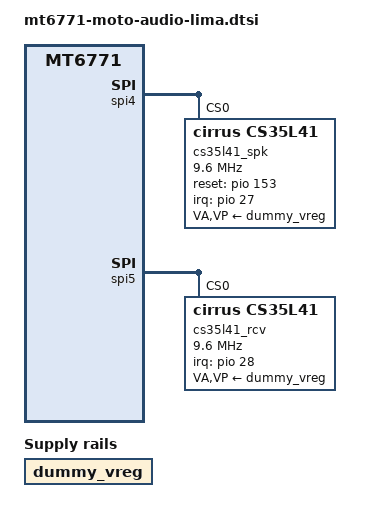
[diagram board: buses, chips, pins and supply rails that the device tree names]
/ {
	dummy_vreg: dummy_vreg {
		compatible = "regulator-fixed";
		status = "ok";
		regulator-name = "dummy_vreg";
		regulator-always-on;
	};
};

&pio {
	amp_reset:amp_reset_cfg {
		combo_pins {
			pins = <PINMUX_GPIO153__FUNC_GPIO153>;
			slew-rate = <1>;
			output-high;
		};
        };

	amp_spk_irq:amp_spk_irq_cfg {
		combo_pins {
			pins = <PINMUX_GPIO27__FUNC_GPIO27>;
			slew-rate = <0>;
			output-high;
		};
        };

	amp_rcv_irq:amp_rcv_irq_cfg {
		combo_pins {
			pins = <PINMUX_GPIO28__FUNC_GPIO28>;
			slew-rate = <0>;
			output-high;
		};
        };
};

&spi4 {
	cs35l41_spk: cs35l41@0 {
		#sound-dai-cells = <1>;
		compatible = "cirrus,cs35l41";
		spi-max-frequency = <9600000>;
		reg = <0>;
		reset-gpios = <&pio 153 0>;
		interrupt-parent = <&pio>;
		interrupts = <27 IRQ_TYPE_LEVEL_LOW 27 0>;

		status = "ok";
		VA-supply = <&dummy_vreg>;
		VP-supply = <&dummy_vreg>;
		cirrus,boost-peak-milliamp = <4500>;
		cirrus,boost-ind-nanohenry = <1000>;
		cirrus,boost-cap-microfarad = <15>;
		cirrus,dsp-force-reload = <1> ;

		cirrus,asp-sdout-hiz = <0x1>;

		pinctrl-names = "default";
		pinctrl-0 = <&amp_reset>;

		cirrus,gpio-config2 {
			cirrus,gpio-src-select = <0x4>;
			cirrus,gpio-output-enable;
		};

		adsps {
			#address-cells = <1>;
			#size-cells = <0>;
			prince_l_dsp: adsp@2b80000 {
				reg = <0x2b80000>;
				firmware {
				        protectionsp_music {
						cirrus,full-name;
						cirrus,wmfw-file = "cs35l41-dsp1-prot.wmfw";
						cirrus,bin-file = "cs35l41-dsp1-spk-prot-music.bin";
					};
					protectionsp_voice {
						cirrus,full-name;
						cirrus,wmfw-file = "cs35l41-dsp1-prot.wmfw";
						cirrus,bin-file = "cs35l41-dsp1-spk-prot-voice.bin";
					};
					protectionsp_ringtone {
						cirrus,full-name;
						cirrus,wmfw-file = "cs35l41-dsp1-prot.wmfw";
						cirrus,bin-file = "cs35l41-dsp1-spk-prot-ringtone.bin";
					};
					protectionsp_notification {
						cirrus,full-name;
						cirrus,wmfw-file = "cs35l41-dsp1-prot.wmfw";
						cirrus,bin-file = "cs35l41-dsp1-spk-prot-notification.bin";
					};
					calibration {
						cirrus,full-name;
						cirrus,wmfw-file = "cs35l41-dsp1-diag.wmfw";
						cirrus,bin-file = "cs35l41-dsp1-diag-spk-cali.bin";
					};
				};
			};
		};
	};
};

&spi5 {
	cs35l41_rcv: cs35l41@0 {
		#sound-dai-cells = <1>;
		compatible = "cirrus,cs35l41";
		spi-max-frequency = <9600000>;
		reg = <0>;
		interrupt-parent = <&pio>;
		interrupts = <28 IRQ_TYPE_LEVEL_LOW 28 0>;

		status = "ok";
		cirrus,right-channel-amp;
		VA-supply = <&dummy_vreg>;
		VP-supply = <&dummy_vreg>;
		cirrus,boost-peak-milliamp = <4500>;
		cirrus,boost-ind-nanohenry = <1000>;
		cirrus,boost-cap-microfarad = <15>;
		cirrus,dsp-force-reload = <1> ;
		cirrus,asp-sdout-hiz = <0x1>;

		pinctrl-names = "default";

		cirrus,gpio-config2 {
			cirrus,gpio-src-select = <0x4>;
			cirrus,gpio-output-enable;
		};

		adsps {
			#address-cells = <1>;
			#size-cells = <0>;
			prince_r_dsp: adsp@2b80000 {
				reg = <0x2b80000>;
				firmware {
				        protectionsp_music {
						cirrus,full-name;
						cirrus,wmfw-file = "cs35l41-dsp1-prot.wmfw";
						cirrus,bin-file = "cs35l41-dsp1-spk-prot-music.bin";
					};
					protectionsp_voice {
						cirrus,full-name;
						cirrus,wmfw-file = "cs35l41-dsp1-prot.wmfw";
						cirrus,bin-file = "cs35l41-dsp1-spk-prot-voice.bin";
					};
					protectionsp_ringtone {
						cirrus,full-name;
						cirrus,wmfw-file = "cs35l41-dsp1-prot.wmfw";
						cirrus,bin-file = "cs35l41-dsp1-spk-prot-ringtone.bin";
					};
					protectionsp_notification {
						cirrus,full-name;
						cirrus,wmfw-file = "cs35l41-dsp1-prot.wmfw";
						cirrus,bin-file = "cs35l41-dsp1-spk-prot-notification.bin";
					};
					calibration {
						cirrus,full-name;
						cirrus,wmfw-file = "cs35l41-dsp1-diag.wmfw";
						cirrus,bin-file = "cs35l41-dsp1-diag-rcv-cali.bin";
					};
				};
			};
		};
	};
};
